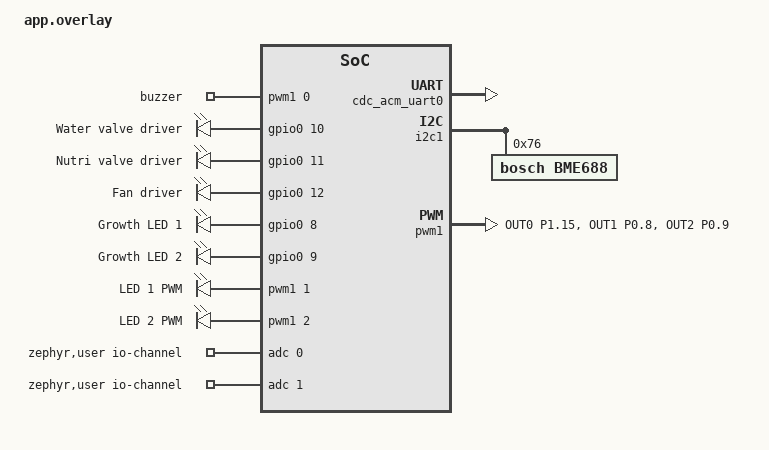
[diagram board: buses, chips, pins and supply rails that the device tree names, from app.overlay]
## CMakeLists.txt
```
list(APPEND ZEPHYR_EXTRA_MODULES
  ${CMAKE_CURRENT_SOURCE_DIR}/bme688_module
)

cmake_minimum_required(VERSION 3.20.0)

find_package(Zephyr REQUIRED HINTS $ENV{ZEPHYR_BASE})

project(field_controller)

set_property(TARGET app PROPERTY CXX_STANDARD 11)

target_compile_definitions(app PRIVATE
  EIDSP_USE_CMSIS_DSP=1
  EI_CLASSIFIER_TFLITE_ENABLE_CMSIS_NN=1
  ARM_MATH_LOOPUNROLL
)

include(edge-impulse-sdk/cmake/utils.cmake)
add_subdirectory(edge-impulse-sdk/cmake/zephyr)

target_include_directories(app PRIVATE
  .
  include
  tflite-model
  model-parameters
)

RECURSIVE_FIND_FILE(CPP_SOURCE_FILES "src" "*.cpp")
RECURSIVE_FIND_FILE(MODEL_FILES "tflite-model" "*.cpp")
list(APPEND SOURCE_FILES ${CPP_SOURCE_FILES} ${MODEL_FILES})

target_sources(app PRIVATE ${SOURCE_FILES})
target_sources(app PRIVATE src/main.cpp)
```

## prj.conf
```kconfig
# System
CONFIG_MAIN_STACK_SIZE=2048
CONFIG_HEAP_MEM_POOL_SIZE=4096
CONFIG_SYSTEM_WORKQUEUE_STACK_SIZE=4096
CONFIG_RESET=y

# C++
CONFIG_CPLUSPLUS=y
CONFIG_NEWLIB_LIBC=y
CONFIG_LIB_CPLUSPLUS=y

# Settings
CONFIG_SETTINGS=y

# Logging
CONFIG_LOG=y
CONFIG_LOG_BACKEND_UART=y

# USB
CONFIG_UART_LINE_CTRL=y
CONFIG_USB_DEVICE_STACK=y
CONFIG_USB_DEVICE_REMOTE_WAKEUP=n
CONFIG_USB_DEVICE_PRODUCT="Thingy 53: Field Controller"
CONFIG_USB_CDC_ACM_LOG_LEVEL_ERR=y
CONFIG_USB_DEVICE_VID=0x1915

# Hardware
CONFIG_I2C=y
CONFIG_SENSOR=y
#CONFIG_BME680=y
CONFIG_BME688=y
CONFIG_PWM=y
CONFIG_ADC=y
CONFIG_DK_LIBRARY=y

# Crypto for Zigbee
CONFIG_MBEDTLS=y
CONFIG_CTR_DRBG_CSPRNG_GENERATOR=y

# Zigbee
CONFIG_ZIGBEE=y
CONFIG_ZIGBEE_APP_UTILS=y
CONFIG_ZIGBEE_ROLE_END_DEVICE=y
CONFIG_ZIGBEE_USE_SOFTWARE_AES=y
CONFIG_ZIGBEE_SCENES=y
CONFIG_ZBOSS_DEFAULT_THREAD_STACK_SIZE=4096
CONFIG_ZBOSS_DEFAULT_THREAD_PRIORITY=0
CONFIG_ZIGBEE_CHANNEL=11
CONFIG_ZIGBEE_LIBRARY_PRODUCTION=y

# Networking
CONFIG_NET_IPV6_MLD=n
CONFIG_NET_IPV6_NBR_CACHE=n
CONFIG_NET_IP_ADDR_CHECK=n
CONFIG_NET_UDP=n

# Troubleshooting
CONFIG_ASSERT=y
CONFIG_ZBOSS_HALT_ON_ASSERT=y
CONFIG_RESET_ON_FATAL_ERROR=n
```

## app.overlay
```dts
#include <zephyr/dt-bindings/ipc_service/static_vrings.h>

/ {
	chosen {
		zephyr,console = &cdc_acm_uart0;
		zephyr,shell-uart = &cdc_acm_uart0;
		nordic,pm-ext-flash = &mx25r64;
	};

	pwmbuzzer {
		compatible = "pwm-leds";
		status = "okay";

		buzzer: buzzer_pwm {
			pwms = <&pwm1 0 PWM_HZ(100) PWM_POLARITY_NORMAL>;
			label = "buzzer";
		};
	};

	drivers {
		compatible = "gpio-leds";
		driver_water: driver1 {
			gpios = <&gpio0 10 GPIO_ACTIVE_HIGH>;
			label = "Water valve driver";
		};
		driver_nutri: driver2 {
			gpios = <&gpio0 11 GPIO_ACTIVE_HIGH>;
			label = "Nutri valve driver";
		};
		driver_fan: driver3 {
			gpios = <&gpio0 12 GPIO_ACTIVE_HIGH>;
			label = "Fan driver";
		};
		led1: led1 {
			gpios = <&gpio0 8 GPIO_ACTIVE_HIGH>;
			label = "Growth LED 1";
		};
		led2: led2 {
			gpios = <&gpio0 9 GPIO_ACTIVE_HIGH>;
			label = "Growth LED 2";
		};
	};

	pwmdrivers: pwmdrivers {
		compatible = "pwm-leds";
		led1_pwm: led1_pwm {
			pwms = <&pwm1 1 PWM_MSEC(20) PWM_POLARITY_NORMAL>;
			label = "LED 1 PWM";
		};

		led2_pwm: led2_pwm {
			pwms = <&pwm1 2 PWM_MSEC(20) PWM_POLARITY_NORMAL>;
			label = "LED 2 PWM";
		};
	};

	zephyr,user {
		io-channels = <&adc 0>, <&adc 1>;
	};

	aliases {
		buzzer-pwm = &buzzer;
		driver-water = &driver_water;
		driver-nutri = &driver_nutri;
		driver-fan = &driver_fan;
		env-sensor = &env_sensor;
		led1-pwm = &led1_pwm;
		led2-pwm = &led2_pwm;
		growth-pwm = &pwm1;
	};
};

&ipc0 {
	zephyr,priority = <0 PRIO_COOP>;
};

&zephyr_udc0 {
	cdc_acm_uart0: cdc_acm_uart0 {
		compatible = "zephyr,cdc-acm-uart";
		label = "CDC_ACM_0";
	};
};

&i2c1 {
	env_sensor: bme688@76 {
		compatible = "bosch,bme688";
		label = "BME688";
		reg = <0x76>;
	};
};

&pinctrl {
	pwm1_default_override: pwm1_default_override {
		group1 {
			psels = <NRF_PSEL(PWM_OUT0, 1, 15)>,
			        <NRF_PSEL(PWM_OUT1, 0, 8)>,
			        <NRF_PSEL(PWM_OUT2, 0, 9)>;
		};
	};

	pwm1_sleep_override: pwm1_sleep_override {
		group1 {
			psels = <NRF_PSEL(PWM_OUT0, 1, 15)>,
			        <NRF_PSEL(PWM_OUT1, 0, 8)>,
			        <NRF_PSEL(PWM_OUT2, 0, 9)>;
			low-power-enable;
		};
	};
};

&pwm1 {
	pinctrl-0 = <&pwm1_default_override>;
	pinctrl-1 = <&pwm1_sleep_override>;
	pinctrl-names = "default", "sleep";
};

&uart0 {
	status = "disabled";
	/delete-property/ pinctrl-0;
	/delete-property/ pinctrl-1;
	/delete-property/ pinctrl-names;
};
```

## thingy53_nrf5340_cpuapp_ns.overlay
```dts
// To get started, press Ctrl+Space to bring up the completion menu and view the available nodes.

// You can also use the buttons in the sidebar to perform actions on nodes.
// Actions currently available include:

// * Enabling / disabling the node
// * Adding the bus to a bus
// * Removing the node
// * Connecting ADC channels

// For more help, browse the DeviceTree documentation at https://docs.zephyrproject.org/latest/guides/dts/index.html
// You can also visit the nRF DeviceTree extension documentation at https://nrfconnect.github.io/vscode-nrf-connect/devicetree/nrfdevicetree.html
/*
 * Copyright (c) 2021 Nordic Semiconductor ASA
 *
 * SPDX-License-Identifier: LicenseRef-Nordic-5-Clause
 */

/*
 * This file is used to enable a partition which is used through the flash API
 * but which is in reality stored in RAM. This is done to load data from
 * external flash to the network core. Since the network core cannot access
 * the external flash directly, the data is buffered in RAM before being
 * copied by the network core to the network core flash.
 *
 * The partition must be enabled by the application configuration to prevent
 * bus faults when mcumgr tries to access simulated partition with network core
 * image data.
 */

 #include <zephyr/dt-bindings/ipc_service/static_vrings.h>

/ {
	soc {
		/* Add a flash controller which has the compatible
		 * 'zephyr,sim-flash'. This will ensure that the flash
		 * simulator can use it. None of the other properties in this
		 * node is used for anything.
		 */
		nordic_ram_flash_controller: nordic_ram-flash-controller@0 {
			compatible = "zephyr,sim-flash";
			reg = <0x00000000 DT_SIZE_K(40)>;
			#address-cells = <1>;
			#size-cells = <1>;
			erase-value = <0xff>;
			label = "nordic_ram_flash_flash_controller";

			/* This node label must match that used in the flash
			 * simulator.
			 */
			flash_sim0: flash_sim@0 {
				status = "okay";
				compatible = "soc-nv-flash";
				label = "simulated_flash";
				erase-block-size = <4096>;
				write-block-size = <4>;
				reg = <0x00000000 DT_SIZE_K(256)>;

				partitions {
					compatible = "fixed-partitions";
					#address-cells = <1>;
					#size-cells = <1>;

					/* This partition must be defined for
					 * MCUboot to find the partition ID
					 * of the primary slot for image 1,
					 * which is stored in this partition.
					 */
					slot2_partition: partition@0 {
						label = "image-2";
						reg = <0x00000000 0x00000A000>;
					};
				};
			};
		};
	};

	chosen {
		zephyr,console = &cdc_acm_uart0;
		zephyr,shell-uart = &cdc_acm_uart0;
		nordic,pm-ext-flash = &mx25r64;
	};

	pwmbuzzer {
		compatible = "pwm-leds";
		status = "okay";

		buzzer: buzzer_pwm {
			pwms = <&pwm1 0 PWM_HZ(100) PWM_POLARITY_NORMAL>;
			label = "PWM_1";
		};
	};

	aliases {
		buzzer-pwm = &buzzer;
	};
};

&ipc0 {
    zephyr,priority = <0 PRIO_COOP>;
};

&zephyr_udc0 {
	cdc_acm_uart0: cdc_acm_uart0 {
		compatible = "zephyr,cdc-acm-uart";
		label = "CDC_ACM_0";
	};
};

&i2c1 {
	bme688@76 {
		compatible = "bosch,bme680";
		label = "BME688";
		reg = <0x76>;
	};
};

/* Disable unused peripherals to reduce power consumption */
&pwm0 {
	status = "disabled";
};
&pwm2 {
	status = "disabled";
};
```

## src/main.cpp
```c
#include <zephyr.h>
#include <zephyr/settings/settings.h>
#include <zephyr/sys/reboot.h>
#include <zephyr/logging/log.h>
#include <zephyr/usb/usb_device.h>

#include "zigbee.hpp"
#include "sensors.hpp"
#include "controllers.hpp"
#include "classifier.hpp"
#include "config/hardware.hpp"
#include "config/software.hpp"

LOG_MODULE_REGISTER(main, MAIN_LOG_LEVEL);

namespace
{
	using DigOut = app::io::digital::Output;
	using AnOut = app::io::analog::PWM;
	using AnIn = app::io::analog::ADC;
	using ClosedController = app::io::controllers::ClosedController;
	using SensorResult = app::networking::zigbee::SensorResult;
	using EnvSensor = app::sensors::environmental::BME688;
	using Zigbee = app::networking::zigbee::ZigbeeInterface;
	using Classifier = app::inference::classifiers::Classifier;

	/**
	 * @brief Thread function to control growth lights.
	 * Control takes place only if ClosedControlStrategy == SELF.
	 */
	void lightCtrlThread();

	/**
	 * @brief Thread function to read sensors and publish them to Zigbee network.
	 */
	SensorResult sensorReadCallback();

	/**
	 * @brief Set control strategy for growth lights.
	 * Strat should be castable to ClosedControlStrategy.
	 */
	void lightStrategyCallback(uint16_t strat);

	/**
	 * @brief Set forced state of given ClosedController.
	 * This state will take effect only when ClosedControlStrategy is set to ZIGBEE.
	 *
	 * @tparam &controller
	 * @param val Value to set PWM output to (0 - 1023).
	 */
	template <ClosedController &controller>
	void lightControlCallback(uint16_t val);

	/**
	 * @brief Set state of given output.
	 *
	 * @tparam &actuator Output to use.
	 * @param val 0 - off, on otherwise.
	 */
	template <DigOut &actuator>
	void OutputControlCallback(uint16_t val);

	/**
	 * @brief Initialize all used hardware.
	 *
	 * @return True on success.
	 */
	bool initHardware();

	/**
	 * @brief Check whether all app's components are in good state.
	 */
	bool hardwareGood();

	/**
	 * @brief Signalize erroneous behavior to the user and reset the device.
	 */
	void handleCriticalError();
}

//****************
// Implementation.
//****************

namespace
{
	constexpr const gpio_dt_spec errPin = GPIO_DT_SPEC_GET(ERROR_PIN, gpios);
	constexpr const gpio_dt_spec blinkPin = GPIO_DT_SPEC_GET(BLINK_PIN, gpios);
	constexpr const gpio_dt_spec waterPin = GPIO_DT_SPEC_GET(WATER_PIN, gpios);
	constexpr const gpio_dt_spec nutriPin = GPIO_DT_SPEC_GET(NUTRI_PIN, gpios);
	constexpr const gpio_dt_spec fanPin = GPIO_DT_SPEC_GET(FAN_PIN, gpios);

	EnvSensor envSensor(DEVICE_DT_GET(SENSOR_DEVICE));
	Classifier classifier;

	constexpr Zigbee &zigbee = Zigbee::getInterface();

	DigOut errLed = DigOut(errPin, "Error LED");
	DigOut blinkLed = DigOut(blinkPin, "Blink LED");

	DigOut relayWater = DigOut(waterPin, "Water Valve");
	DigOut relayNutri = DigOut(nutriPin, "Nutri Valve");
	DigOut fan = DigOut(fanPin, "Air Fan");

	constexpr const device *ledDevice = DEVICE_DT_GET(LED_PWM);
	constexpr const device *ledSensorDevice = DEVICE_DT_GET(LED_ADC);

	ClosedController led1 = ClosedController(*ledDevice, LED1_CHANNEL,
											 *ledSensorDevice,
											 DT_IO_CHANNELS_INPUT_BY_IDX(DT_PATH(zephyr_user), LED1_ADC_CHANNEL));
	ClosedController led2 = ClosedController(*ledDevice, LED2_CHANNEL,
											 *ledSensorDevice,
											 DT_IO_CHANNELS_INPUT_BY_IDX(DT_PATH(zephyr_user), LED2_ADC_CHANNEL));

	K_THREAD_DEFINE(lightThreadId, LIGHT_CTRL_THREAD_STACK_SIZE,
					lightCtrlThread, NULL, NULL, NULL,
					1, 0, 10000);
}

#ifdef DATASET_COLLECTOR
int main()
{
	if (usb_enable(NULL))
	{
		LOG_ERR("Failed to initialize USB");
		handleCriticalError();
	}

	LOG_INF("Application core starting");

	k_sleep(K_SECONDS(5));

	if (!initHardware())
	{
		LOG_ERR("Hardware initialization failed");
		handleCriticalError();
	}

	while (hardwareGood())
	{
		k_sleep(K_MSEC(100));
		SensorResult res = sensorReadCallback();
		printk("%.3f, %.3f, %.3f, %.3f\n", res.temperature, res.pressure, res.humidity, res.gasResistance / 10000.0);
	}

	handleCriticalError();

	return 0;
}
#else
int main()
{
	if (usb_enable(NULL))
	{
		LOG_ERR("Failed to initialize USB");
		handleCriticalError();
	}

	LOG_INF("Application core starting");

	k_sleep(K_SECONDS(5));

	using ZigbeeCallbackType = app::networking::zigbee::CallbackType::Values;
	zigbee.registerCallback(ZigbeeCallbackType::FAN, OutputControlCallback<fan>);
	zigbee.registerCallback(ZigbeeCallbackType::RELAY_WATER, OutputControlCallback<relayWater>);
	zigbee.registerCallback(ZigbeeCallbackType::RELAY_NUTRI, OutputControlCallback<relayNutri>);
	zigbee.registerCallback(ZigbeeCallbackType::LED_SIDE_1, lightControlCallback<led1>);
	zigbee.registerCallback(ZigbeeCallbackType::LED_SIDE_2, lightControlCallback<led2>);
	zigbee.registerCallback(ZigbeeCallbackType::LED_STRATEGY, lightStrategyCallback);
	zigbee.registerSensorCallback(sensorReadCallback);

	if (settings_subsys_init())
	{
		LOG_ERR("Settings initialization failed");
		handleCriticalError();
	}

	if (!initHardware())
	{
		LOG_ERR("Hardware initialization failed");
		handleCriticalError();
	}

	classifier.init();

	if (settings_load())
	{
		LOG_ERR("Settings load failed");
		handleCriticalError();
	}

	zigbee.doWorkDetached();

	while (hardwareGood())
	{
		k_sleep(K_SECONDS(5));
		LOG_DBG("Blinking");

		if (!zigbee.isIdentifying())
		{
			blinkLed.setState(1);
			k_sleep(K_MSEC(100));
			blinkLed.setState(0);
		}
	}
	handleCriticalError();
	return 0;
}
#endif

namespace
{
	void lightCtrlThread()
	{
		while (hardwareGood())
		{
			if (led1.getControlStrategy() == ClosedController::ControlStrategy::SELF)
			{
				LOG_DBG("Updating growth light intensity");
				led1.update();
				led2.update();
				LOG_DBG("Growth light control updated");
			}
			else
			{
				LOG_DBG("Growth lights are in ZIGBEE state - skipping update ");
			}
			k_sleep(K_MSEC(100));
		}
		LOG_ERR("Hardware failure detected - stopping light control thread");
	}

	SensorResult sensorReadCallback()
	{
		SensorResult res;

		LOG_INF("Performing sensor read");
		if (!envSensor.read())
		{
			LOG_ERR("Failed to read environmental sensor");
			res.ok = false;
			return res;
		}

		res.temperature = envSensor.getTemperature();
		res.humidity = envSensor.getHumidity();
		res.pressure = envSensor.getPressure();
		res.gasResistance = envSensor.getGasResistance();
		res.classification = static_cast<uint8_t>(classifier.readNetwork(res.temperature, res.pressure, res.humidity, res.gasResistance));

		if (hardwareGood())
		{
			res.ok = true;
			LOG_INF("Sensor read done");
		}
		else
		{
			LOG_ERR("Hardware failure detected - skipping sensor read");
			res.ok = false;
		}

		return res;
	}

	void lightStrategyCallback(uint16_t strat)
	{
		if (strat > 1)
		{
			LOG_WRN("Invalid control strategy - ignoring");
			return;
		}
		bool stratBool = strat;
		auto stratEnum = static_cast<ClosedController::ControlStrategy>(stratBool);

		led1.setControlStrategy(stratEnum);
		led2.setControlStrategy(stratEnum);

		if (stratEnum == ClosedController::ControlStrategy::SELF)
		{
			LOG_INF("Growth light control set to SELF");
		}
		else
		{
			LOG_INF("Growth light control set to ZIGBEE");
		}
	}

	template <ClosedController &controller>
	void lightControlCallback(uint16_t val)
	{
		if (val > 1023)
		{
			LOG_WRN("Value %d passed to %s is out of allowed bounds [0 - 1023] - ignoring", val, "TODO");
			return;
		}
		LOG_INF("Setpoint for %s set to %d", "TODO", val);
		controller.setState(val);
	}

	template <DigOut &actuator>
	void OutputControlCallback(uint16_t val)
	{
		LOG_INF("Value of %s set to %d", actuator.getLabel(), val);
		actuator.setState(val);
	}

	bool initHardware()
	{
		LOG_INF("Initializing hardware");
		if (!errLed.init())
		{
			LOG_ERR("Ironic - error LED init failed");
			return false;
		}
		if (!blinkLed.init())
		{
			LOG_ERR("Blink LED init failed");
			return false;
		}
		if (!led1.init())
		{
			LOG_ERR("Growth LED 1 init failed");
			return false;
		}
		if (!led2.init())
		{
			LOG_ERR("Growth LED 2 init failed");
			return false;
		}
		if (!relayWater.init())
		{
			LOG_ERR("Water relay init failed");
			return false;
		}
		if (!relayNutri.init())
		{
			LOG_ERR("Nutri relay init failed");
			return false;
		}
		if (!fan.init())
		{
			LOG_ERR("Fan init failed");
			return false;
		}
		if (!envSensor.init())
		{
			LOG_ERR("Environmental sensor init failed");
			return false;
		}
		if (!zigbee.init())
		{
			LOG_ERR("Zigbee init failed");
			return false;
		}
		LOG_INF("Hardware initialized properly");
		return true;
	}

	bool hardwareGood()
	{
		LOG_DBG("Checking status of application's hardware");
		if (!errLed.ok())
		{
			LOG_ERR("Ironic - error LED failed");
			return false;
		}
		if (!blinkLed.ok())
		{
			LOG_ERR("Blink LED failed");
			return false;
		}
		if (!led1.ok())
		{
			LOG_ERR("Growth LED 1 failed");
			return false;
		}
		if (!led2.ok())
		{
			LOG_ERR("Growth LED 2 failed");
			return false;
		}
		if (!relayWater.ok())
		{
			LOG_ERR("Water relay failed");
			return false;
		}
		if (!relayNutri.ok())
		{
			LOG_ERR("Nutri relay failed");
			return false;
		}
		if (!fan.ok())
		{
			LOG_ERR("Fan failed");
			return false;
		}
		if (!envSensor.ok())
		{
			LOG_ERR("Environmental sensor failed");
			return false;
		}
		if (!zigbee.ok())
		{
			LOG_ERR("Zigbee failed");
			return false;
		}
		LOG_DBG("Hardware good");
		return true;
	}

	void handleCriticalError()
	{
		if (blinkLed.ok())
		{
			blinkLed.setState(0);
		}
		if (zigbee.ok())
		{
			zigbee.cleanup();
		}
		if (errLed.ok())
		{
			for (uint8_t i = 0; i < 10; i++)
			{
				k_sleep(K_MSEC(200));
				errLed.setState(1);
				k_sleep(K_MSEC(200));
				errLed.setState(0);
			}
		}
		LOG_ERR("System error encountered, performing hard reboot");

		k_sleep(K_SECONDS(1));
		sys_reboot(SYS_REBOOT_WARM);
	}
}
```

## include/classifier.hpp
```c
#pragma once
#include "types/inference_types.hpp"

namespace app
{
    namespace inference
    {
        namespace classifiers
        {
            class Classifier
            {
            private:
                uint16_t m_cntr = 0;
                //signal_t featureSig;

                int loadData(std::size_t offset, std::size_t length, float *out_ptr);

                float m_temp;
                float m_press;
                float m_hum;
                float m_gas;

            public:
                void init();
                Classification readNetwork(float temp, float press, float hum, float gas);
            };
        }
    }
}
```

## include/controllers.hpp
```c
#pragma once
#include "gpio.hpp"
#include "helpers.hpp"
#include "types/controllers_types.hpp"

namespace app
{
    namespace io
    {
        namespace controllers
        {

            class ClosedController
            {
            public:
                using ControlStrategy = ClosedControlStrategy::Value;

            private:
                using AnIn = app::io::analog::ADC;
                using AnOut = app::io::analog::PWM;
                using LowPassFilter = app::helpers::LowPassFilter;

                AnIn m_sensor;
                AnOut m_actuator;
                LowPassFilter filter;
                ControlStrategy m_currStrategy = ControlStrategy::SELF;
                uint8_t m_selfThreshold = 0;
                uint8_t m_valZigbee = 0;
                uint8_t m_valSelf = 128;

                void updateSelf();

            public:
                ClosedController(const device &actuator, uint32_t actuatorChannel,
                                 const device &sensor, uint8_t sensorChannel);
                bool init();
                void update();
                bool ok() const;

                void setControlStrategy(ControlStrategy strategy);
                ControlStrategy getControlStrategy();

                void setState(uint8_t state);
                uint8_t readSensor();
            };
        }
    }
}
```

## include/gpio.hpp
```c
#pragma once
#include <cstdint>
#include <drivers/gpio.h>
#include <drivers/pwm.h>
#include <drivers/adc.h>
#include "config/hardware.hpp"

namespace app
{
    namespace io
    {
        namespace digital
        {
            class Output
            {
            private:
                const gpio_dt_spec &m_pin;
                bool m_err = false;
                const char *m_label;

            public:
                Output(const gpio_dt_spec &pin, const char *label);
                bool init();
                void setState(bool state);
                bool ok() const;
                constexpr const char *getLabel() const { return m_label; };
            };
        }

        namespace analog
        {
            class PWM
            {
            private:
                const device *m_pwm;
                const uint32_t m_channel;
                bool m_err = false;

            public:
                PWM(const device &pwm, uint32_t channel);
                bool init();
                void setState(uint8_t state);
                bool ok() const;
            };

            class ADC
            {
            private:
                uint16_t m_buf;
                adc_channel_cfg m_cfg = {
                    .gain = LED_ADC_GAIN,
                    .reference = LED_ADC_REFERENCE,
                    .acquisition_time = LED_ADC_ACQUISITION_TIME,
                    .channel_id = 0,
                    .differential = 0};
                adc_sequence m_seq = {
                    .channels = 0,
                    .buffer = &m_buf,
                    .buffer_size = sizeof(uint16_t),
                    .resolution = LED_ADC_RESOLUTION};

                const device *m_adc;
                bool m_err = false;

            public:
                ADC(const device &adc, uint8_t channelId);
                bool init();
                uint8_t getState();
                bool ok() const;
            };
        }
    }
}
```

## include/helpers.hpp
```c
#pragma once
#include <math.h>

namespace app
{
    namespace helpers
    {
        double exponential(double val, double minv, double maxv);

        class LowPassFilter
        {
        private:
            double previousOutput = 0;
            const double smoothingFactor = 1;

        public:
            LowPassFilter(double _sf = 1);
            void reset();
            double read(double input);
        };
    }
}
```

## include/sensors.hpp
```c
#pragma once
#include <cstdint>
#include <drivers/sensor.h>

namespace app
{
    namespace sensors
    {
        namespace environmental
        {
            class BME688
            {
            private:
                bool m_err = false;
                const device *m_dev;

            public:
                BME688(const device *d);
                bool init();
                bool read();
                bool ok() const;

                float getTemperature();
                float getPressure();
                float getHumidity();
                float getGasResistance();
            };
        }
    }
}
```

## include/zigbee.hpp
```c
#pragma once

#include "types/zigbee_types.hpp"
#include "gpio.hpp"

namespace app
{
    namespace networking
    {
        namespace zigbee
        {
            class ZigbeeInterface
            {
                friend void ::zboss_signal_handler(zb_bufid_t bufid);

            private:
                static DeviceContext m_devCtx;

                static bool m_isInit;
                //!< Singleton pattern. There can be only one Zigbee interface on the device.
                static ZigbeeInterface m_instance;

                static bool m_isBlinking;

                static app::io::digital::Output m_identifyLed;

                //!< Callbacks to be called on msg rx.
                static Callback m_callbacks[CallbackType::length()];

                static MeasurementCallback m_sensorCallback;

                // static void startIdentify(zb_bufid_t bufid);
                static void btnCallback(uint32_t button_state, uint32_t has_changed);
                static void sensorReadCallback(zb_bufid_t bufid);
                static void setTemperature(int16_t temp);
                static void setPressure(int16_t press);
                static void setHumidity(int16_t hum);
                static void setClassification(bool c);
                static void maybeSetBoolValue(zb_zcl_device_callback_param_t *device_cb_param, Callback cb);
                static void maybeSetLevelValue(zb_zcl_device_callback_param_t *device_cb_param, Callback cb);
                static void zclDeviceCallback(zb_bufid_t bufid);
                static void toggleIdentify(zb_bufid_t bufid);
                static void identifyCallback(zb_bufid_t bufid);
                static void clusterAttrInit();

            public:
                /**
                 * @brief Get instance of Zigbee hardware interface.
                 *
                 * @return Reference to instance of hardware interface.
                 */
                constexpr static ZigbeeInterface &getInterface()
                {
                    return m_instance;
                }

                /**
                 * @brief Initialize hardware interface.
                 *
                 * @return True on success.
                 */
                bool init() const;

                /**
                 * @brief Register callback to be called on specific message receive.
                 *
                 * @param type Type of callback.
                 * @param callback Function to call.
                 */
                void registerCallback(CallbackType::Values type, Callback callback);

                void registerSensorCallback(MeasurementCallback cb);

                /**
                 * @brief Run Zigbee worker. Call after init().
                 */
                void doWorkDetached() const;

                bool ok() const;

                constexpr const DeviceContext &getContext();

                void cleanup();

                bool isIdentifying();
            };
        }
    }
}
```

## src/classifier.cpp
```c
#include "classifier.hpp"
#include <zephyr/logging/log.h>

#include "edge-impulse-sdk/classifier/ei_run_classifier.h"
#include "edge-impulse-sdk/dsp/numpy.hpp"

#include "config/software.hpp"

LOG_MODULE_REGISTER(classifier, CLASSIFIER_LOG_LVL);

namespace
{
    signal_t featureSig;
}

namespace app
{
    namespace inference
    {
        namespace classifiers
        {
            int Classifier::loadData(std::size_t offset, std::size_t length, float *out_ptr)
            {
                out_ptr[0] = m_temp;
                out_ptr[1] = m_press;
                out_ptr[2] = m_hum;
                out_ptr[3] = m_gas;
            }

            void Classifier::init()
            {
                LOG_INF("Classifier initializing");
                featureSig.total_length = 4;
                featureSig.get_data = [=](std::size_t offset, std::size_t length, float *out_ptr) -> int
                {
                    return loadData(offset, length, out_ptr);
                };
                LOG_INF("Classifier initialized");
            }

            Classification Classifier::readNetwork(float temp, float press, float hum, float gas)
            {
                m_temp = temp;
                m_press = press;
                m_hum = hum;
                m_gas = gas;

                ei_impulse_result_t classificationResult = {0};

                run_classifier(&featureSig, &classificationResult);

                float good = classificationResult.classification[static_cast<uint8_t>(Classification::GOOD)].value;
                float mould = classificationResult.classification[static_cast<uint8_t>(Classification::MOULD)].value;

                LOG_DBG("Classification result: GOOD %f, MOULD %f", good, mould);

                if (good > 0.8 && m_cntr > 0)
                {
                    m_cntr--;
                }
                else if (mould > 0.8)
                {
                    m_cntr++;
                }

                LOG_DBG("Classifier reading err cntr %d/100", m_cntr);

                if (m_cntr >= 100)
                {
                    return Classification::MOULD;
                }
                return Classification::GOOD;
            }
        }
    }
}
```

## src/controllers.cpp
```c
#include "controllers.hpp"
#include <zephyr/logging/log.h>
#include "config/software.hpp"

LOG_MODULE_REGISTER(controllers, CONTROLLERS_LOG_LEVEL);

namespace app
{
    namespace io
    {
        namespace controllers
        {

            ClosedController::ClosedController(const device &actuator, uint32_t actuatorChannel,
                                               const device &sensor, uint8_t sensorChannel)
                : m_actuator(actuator, actuatorChannel), m_sensor(sensor, sensorChannel),
                  filter(0.19) {}

            void ClosedController::updateSelf()
            {
                uint8_t state = m_sensor.getState();
                state = app::helpers::exponential(255 - state, 0, 255);
                m_valSelf = filter.read(state);
            }

            bool ClosedController::init()
            {
                if (!m_sensor.init())
                {
                    LOG_ERR("Failed to initialize controller's sensor");
                    return false;
                }
                if (!m_actuator.init())
                {
                    LOG_ERR("Failed to initialize controller's actuator");
                    return false;
                }
                return true;
            };

            void ClosedController::setControlStrategy(ControlStrategy strategy)
            {
                m_currStrategy = strategy;
                update();
            }

            ClosedController::ControlStrategy ClosedController::getControlStrategy()
            {
                return m_currStrategy;
            }

            void ClosedController::setState(uint8_t state)
            {
                m_valZigbee = state;
                update();
            }

            void ClosedController::update()
            {
                if (m_currStrategy == ControlStrategy::SELF)
                {
                    updateSelf();
                    m_actuator.setState(m_valSelf);
                }
                else
                {
                    filter.reset();
                    m_actuator.setState(m_valZigbee);
                }
            }

            bool ClosedController::ok() const
            {
                return (m_sensor.ok() && m_actuator.ok());
            }

            uint8_t ClosedController::readSensor()
            {
                return m_sensor.getState();
            }
        }
    }
}
```

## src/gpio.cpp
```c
#include "gpio.hpp"
#include <zephyr/logging/log.h>

#include "config/software.hpp"

LOG_MODULE_REGISTER(gpio, GPIO_LOG_LEVEL);

namespace app
{
    namespace io
    {
        namespace digital
        {
            Output::Output(const gpio_dt_spec &pin, const char *label)
                : m_pin(pin), m_label(label) {}

            bool Output::init()
            {
                LOG_INF("Initializing %s", m_label);
                m_err = !device_is_ready(m_pin.port);
                if (m_err)
                {
                    LOG_ERR("%s is not ready", m_label);
                    return false;
                }

                if (gpio_pin_configure_dt(&m_pin, GPIO_OUTPUT_INACTIVE) < 0)
                {
                    LOG_ERR("Couldn't configure %s as GPIO_OUTPUT_INACTIVE", m_label);
                    return false;
                }
                LOG_INF("%s initialized", m_label);
                return true;
            }

            void Output::setState(bool state)
            {
                LOG_DBG("Setting %s to %d", m_label, state);
                m_err = gpio_pin_set_dt(&m_pin, state);
                if (m_err)
                {
                    LOG_ERR("%s failed to set state to %d", m_label, state);
                }
            }

            bool Output::ok() const
            {
                return !m_err;
            }
        }

        namespace analog
        {
            PWM::PWM(const device &pwm, uint32_t channel)
                : m_pwm(&pwm), m_channel(channel) {}

            bool PWM::init()
            {
                m_err = !device_is_ready(m_pwm);
                if (m_err)
                {
                    LOG_ERR("PWM device is not ready");
                    return false;
                }

                LOG_DBG("Calibrating PWM device");

                return true;
            }

            void PWM::setState(uint8_t state)
            {
                m_err = pwm_set(m_pwm, m_channel, PWM_USEC(255), PWM_USEC(state), PWM_POLARITY_NORMAL);
                // m_err = led_set_channel(m_pwm, m_channel, state);
                if (m_err)
                {
                    LOG_ERR("Failed to set PWM");
                }
            }

            bool PWM::ok() const
            {
                return !m_err;
            }

            ADC::ADC(const device &adc, uint8_t channel) : m_adc(&adc)
            {
                m_cfg.channel_id = channel;

#ifdef CONFIG_ADC_NRFX_SAADC
#define ADC_INPUT_POS_OFFSET SAADC_CH_PSELP_PSELP_AnalogInput0
#else
#define ADC_INPUT_POS_OFFSET 0
#endif

#ifdef CONFIG_ADC_CONFIGURABLE_INPUTS
                m_cfg.input_positive = ADC_INPUT_POS_OFFSET + channel;
#endif
            }

            bool ADC::init()
            {
                m_err = !device_is_ready(m_adc);
                if (m_err)
                {
                    LOG_ERR("ADC device is not ready");
                    return false;
                }

                adc_channel_setup(m_adc, &m_cfg);
                if (m_err)
                {
                    LOG_ERR("Failed to setup ADC channel");
                    return false;
                }
                m_seq.channels = BIT(m_cfg.channel_id);
                return true;
            }

            uint8_t ADC::getState()
            {
                m_err = adc_read(m_adc, &m_seq);
                if (m_err)
                {
                    LOG_ERR("ADC reading failed");
                    return 0;
                }
                return m_buf / LED_ADC_DIVIDER_TO_U8;
            }

            bool ADC::ok() const
            {
                return !m_err;
            }
        }
    }
}
```

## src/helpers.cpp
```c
#include "helpers.hpp"

#include <math.h>

namespace app
{
    namespace helpers
    {
        double exponential(double val, double minv, double maxv)
        {
            if (val == minv)
            {
                return minv;
            }

            else if (val == maxv)
            {
                return maxv;
            }

            else if (minv < 0 || maxv < 0)
            {
                return 0;
            }

            double expMin = log(minv + 1);
            double expMax = log(maxv + 1);
            double a = (expMax - expMin) / (maxv - minv);
            double b = expMin;

            double expVal = a * val + b;
            return exp(expVal) - 1;
        }

        LowPassFilter::LowPassFilter(double _sf) : smoothingFactor(_sf){};

        void LowPassFilter::reset()
        {
            previousOutput = 0;
        }

        double LowPassFilter::read(double input)
        {
            double output = previousOutput + smoothingFactor * (input - previousOutput);
            previousOutput = output;
            return output;
        }
    }
}
```

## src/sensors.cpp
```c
#include "sensors.hpp"
#include <zephyr/logging/log.h>

#include "config/hardware.hpp"
#include "config/software.hpp"

LOG_MODULE_REGISTER(sensors, SENSORS_LOG_LEVEL);

namespace app
{
    namespace sensors
    {
        namespace environmental
        {

            BME688::BME688(const device *d) : m_dev(d) {}

            bool BME688::init()
            {
                LOG_INF("BME688 initializing");
                m_err = !device_is_ready(m_dev);
                if (m_err)
                {
                    LOG_ERR("Failed to get environmental Sensor device struct");
                    return false;
                }
                LOG_INF("BME688 initialized");
                return true;
            }

            bool BME688::read()
            {
                m_err = sensor_sample_fetch(m_dev);
                if (m_err)
                {
                    LOG_ERR("Failed to fetch environmental sensor");
                }
                return !m_err;
            }

            bool BME688::ok() const
            {
                return !m_err;
            }

            float BME688::getTemperature()
            {
                sensor_value val;
                m_err = sensor_channel_get(m_dev, SENSOR_CHAN_AMBIENT_TEMP, &val);
                if (m_err)
                {
                    LOG_ERR("Failed to get temperature");
                    return 0;
                }
                return val.val1 + val.val2 / 100000.0;
            }

            float BME688::getPressure()
            {
                sensor_value val;
                m_err = sensor_channel_get(m_dev, SENSOR_CHAN_PRESS, &val);
                if (m_err)
                {
                    LOG_ERR("Failed to get pressure");
                    return 0;
                }
                return val.val1 + val.val2 / 100000.0;
            }

            float BME688::getHumidity()
            {
                sensor_value val;
                m_err = sensor_channel_get(m_dev, SENSOR_CHAN_HUMIDITY, &val);
                if (m_err)
                {
                    LOG_ERR("Failed to get humidity");
                    return 0;
                }
                return val.val1 + val.val2 / 100000.0;
            }

            float BME688::getGasResistance()
            {
                sensor_value val;
                m_err = sensor_channel_get(m_dev, SENSOR_CHAN_GAS_RES, &val);
                if (m_err)
                {
                    LOG_ERR("Failed to get gas resistance");
                    return 0;
                }
                return val.val1 + val.val2 / 100000.0;
            }
        }
    }
}
```
